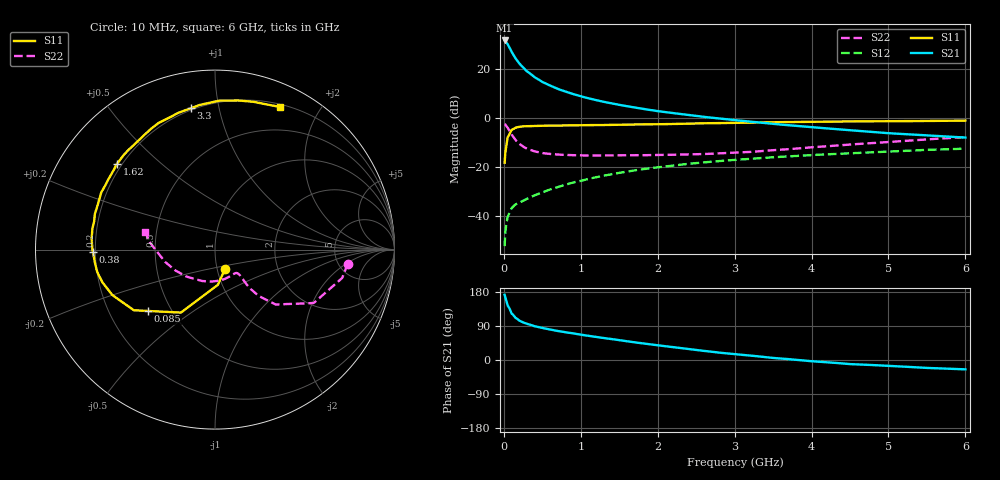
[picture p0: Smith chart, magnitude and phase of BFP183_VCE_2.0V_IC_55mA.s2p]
! Infineon Technologies  Discrete & RF Semiconductors
! BFP183
! VCE = 2.0 V,  IC =  55 mA
! Common Emitter S-Parameters:  Jan 2016
# GHz  S  MA  R  50
!  f  S11  S21  S12  S22
! GHz  MAG  ANG  MAG  ANG  MAG  ANG  MAG  ANG
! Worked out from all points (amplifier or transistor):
!   210 points, 10 MHz to 6 GHz, reference 50 ohm
!   highest |S21| = 31.5 dB at 10 MHz (marker M1)
!   |S21| within 3 dB of that: start of sweep to 73.59 MHz
!   unconditionally stable (mu >= 1): start of sweep to 34.26 MHz; 191.8 MHz to end of sweep
!   at 185 MHz: K = 0.98, MSG = 28.9 dB, |S12| = -34.9 dB
!   at 1.52 GHz: K = 1.68, MAG = 9.0 dB, |S12| = -22.4 dB
!   at 6 GHz: K = 1.29, MAG = -1.0 dB, |S12| = -12.6 dB
!   S11 on the Smith chart (normalised r, x): 10 MHz: 1.09, -0.24; 85 MHz: 0.37, -0.34; 380 MHz: 0.19, -0.01; 1.62 GHz: 0.18, +0.37; 3.3 GHz: 0.19, +0.83; 6 GHz: 0.23, +1.53
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0.01  0.1209 -62.0  37.72 172.0  0.0024 63.2  0.7441 -6.0
0.02  0.1973 -85.5  37.1 164.2  0.0047 68.1  0.7259 -12.6
0.05  0.3989 -118.4  31.56 143.8  0.0095 61.5  0.6254 -28.4
0.085  0.5061 -137.5  24.59 130.9  0.0127 51.8  0.5038 -37.0
0.1  0.5643 -143.2  22.16 123.0  0.0142 49.0  0.4565 -42.1
0.15  0.6255 -156.1  16.42 111.5  0.017 46.6  0.3545 -46.7
0.2  0.6536 -163.9  12.86 104.2  0.0185 47.8  0.2945 -47.9
0.26  0.6693 -170.3  10.16 98.4  0.0207 49.4  0.2528 -47.6
0.3  0.6729 -173.8  8.861 95.3  0.0222 51.4  0.2334 -46.9
0.38  0.6804 -179.0  7.139 90.6  0.0253 53.6  0.2113 -46.2
0.4  0.6832 179.7  6.718 89.1  0.0261 54.1  0.2058 -46.0
0.5  0.69 174.9  5.377 84.4  0.03 56.6  0.1903 -45.8
0.6  0.693 170.4  4.539 80.3  0.0344 58.3  0.1824 -46.2
0.8  0.6983 163.5  3.416 73.2  0.043 60.7  0.1743 -48.6
1.02  0.7043 155.7  2.683 66.2  0.0526 61.2  0.1702 -53.3
1.62  0.7255 138.7  1.703 48.9  0.0805 58.2  0.172 -69.4
2.02  0.7374 127.9  1.352 38.3  0.0984 54.7  0.1746 -82.5
3.1  0.7911 103.5  0.864 13.6  0.1418 43.4  0.1967 -122.4
3.3  0.7991 99.7  0.804 9.8  0.149 41.4  0.2058 -129.7
4.1  0.8316 86.7  0.624 -4.5  0.1764 33.1  0.2554 -155.2
5.1  0.8519 74.3  0.474 -16.4  0.2067 23.9  0.3279 -179.1
6  0.8736 65.6  0.394 -24.7  0.2341 14.3  0.4026 165.6
